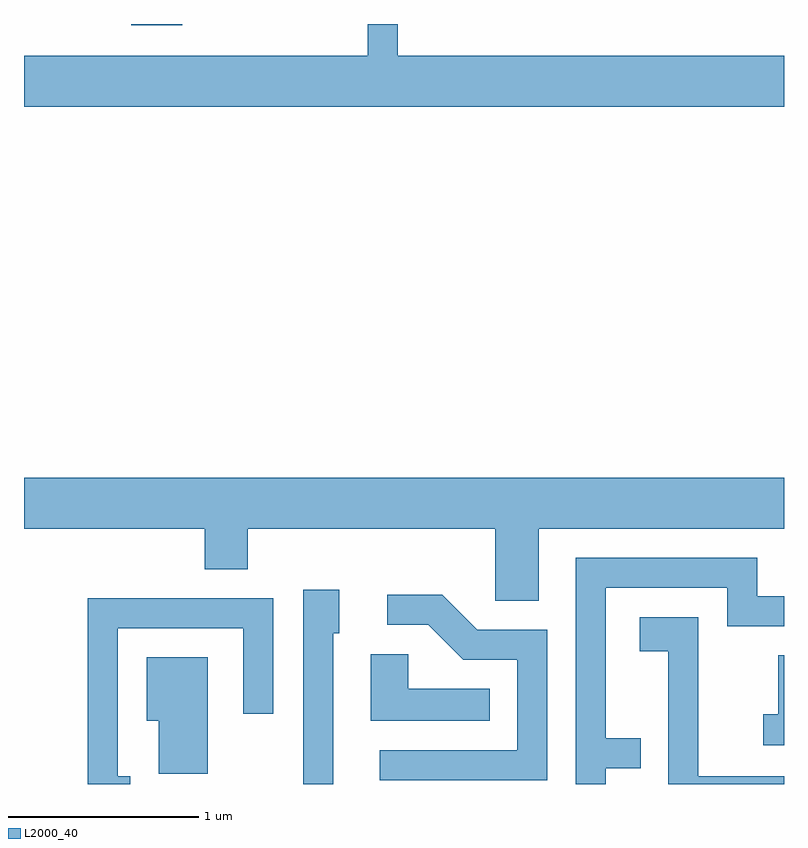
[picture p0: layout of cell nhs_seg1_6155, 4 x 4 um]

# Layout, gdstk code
import gdstk
lib = gdstk.Library(unit=1e-6, precision=1e-09)
def R(c, l, rs):  # rectangles x0, y0, x1, y1
    for r in rs: c.add(gdstk.rectangle(r[:2], r[2:], *l))
def P(c, l, *ps):  # polygons
    for p in ps: c.add(gdstk.Polygon(p, *l))
L2000_40 = (2000, 40)

nhs_seg1_6155 = lib.new_cell('nhs_seg1_6155')
R(nhs_seg1_6155, L2000_40, [(370.176,977.706,370.444,977.712)])
P(nhs_seg1_6155, L2000_40, [(373.611,977.544),(371.579,977.544),(371.579,977.712),(371.421,977.712),(371.421,977.544),(369.611,977.544),(369.611,977.276),(373.611,977.276)],
  [(372.319,975.056),(373.611,975.056),(373.611,975.324),(369.611,975.324),(369.611,975.056),(370.561,975.056),(370.561,974.841),(370.789,974.841),(370.789,975.056),(372.091,975.056),(372.091,974.676),(372.319,974.676)],
  [(372.674,973.796),(372.858,973.796),(372.858,973.954),(372.674,973.954),(372.674,974.746),(373.311,974.746),(373.311,974.541),(373.611,974.541),(373.611,974.699),(373.469,974.699),(373.469,974.904),(372.516,974.904),(372.516,973.712),(372.674,973.712)],
  [(371.239,974.506),(371.269,974.506),(371.269,974.734),(371.081,974.734),(371.081,973.712),(371.239,973.712)],
  [(372.364,974.524),(371.997,974.524),(371.812,974.709),(371.523,974.709),(371.523,974.551),(371.739,974.551),(371.924,974.366),(372.206,974.366),(372.206,973.889),(371.483,973.889),(371.483,973.731),(372.364,973.731)],
  [(370.169,973.754),(370.104,973.754),(370.104,974.531),(370.766,974.531),(370.766,974.083),(370.924,974.083),(370.924,974.689),(369.946,974.689),(369.946,973.712),(370.169,973.712)],
  [(373.611,973.754),(373.159,973.754),(373.159,974.589),(372.851,974.589),(372.851,974.411),(373.001,974.411),(373.001,973.712),(373.611,973.712)],
  [(372.063,974.214),(371.634,974.214),(371.634,974.394),(371.436,974.394),(371.436,974.046),(372.063,974.046)],
  [(373.611,974.389),(373.581,974.389),(373.581,974.079),(373.503,974.079),(373.503,973.916),(373.611,973.916)],
  [(370.579,974.379),(370.256,974.379),(370.256,974.046),(370.321,974.046),(370.321,973.766),(370.579,973.766)])

lib.write_gds('nhs_seg1_6155.gds')
